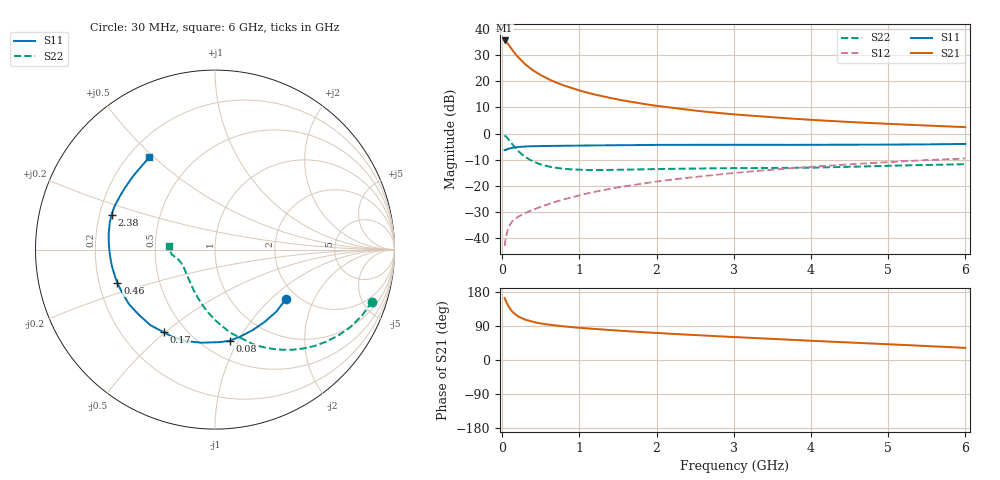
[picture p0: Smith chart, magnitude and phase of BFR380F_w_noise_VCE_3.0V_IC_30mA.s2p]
! Infineon Technologies  Discrete & RF Semiconductors
! BFR380F
! VCE =  3.0 V,  IC =  30 mA
! Common Emitter S-Parameters:  Nov 2015
# GHz  S  MA  R  50
!  f  S11  S21  S12  S22
! GHz  MAG  ANG  MAG  ANG  MAG  ANG  MAG  ANG
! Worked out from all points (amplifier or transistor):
!   206 points, 30 MHz to 6 GHz, reference 50 ohm
!   highest |S21| = 35.6 dB at 30 MHz (marker M1)
!   |S21| within 3 dB of that: start of sweep to 114.1 MHz
!   unconditionally stable (mu >= 1): 1.114 GHz to 4.992 GHz
!   at 200 MHz: K = 0.49, MSG = 30.6 dB, |S12| = -31.9 dB
!   at 1.56 GHz: K = 1.03, MAG = 15.5 dB, |S12| = -20.3 dB
!   at 6 GHz: K = 0.99, MSG = 6.0 dB, |S12| = -9.5 dB
!   lowest NFmin = 1.22 dB at 900 MHz
!   S11 on the Smith chart (normalised r, x): 30 MHz: 1.75, -1.25; 80 MHz: 0.67, -0.92; 170 MHz: 0.38, -0.49; 460 MHz: 0.28, -0.15; 2.38 GHz: 0.25, +0.15; 6 GHz: 0.28, +0.48
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0.03  0.4817 -34.7  60.26 163.7  0.007 78.7  0.9222 -18.3
0.05  0.4888 -55.9  56.92 153.6  0.0108 71.3  0.8698 -29.7
0.07  0.5044 -73.6  52.37 145.3  0.0143 66.0  0.804 -39.7
0.08  0.5147 -80.9  50.15 141.9  0.0157 63.9  0.7709 -44.2
0.1  0.5184 -93.4  45.58 135.4  0.0181 59.9  0.7051 -52.3
0.12  0.5285 -103.7  41.48 130.0  0.02 57.3  0.6453 -59.2
0.15  0.5411 -115.9  36.22 123.5  0.0223 54.8  0.5685 -68.0
0.17  0.542 -121.8  33.39 120.7  0.0235 54.0  0.5271 -72.1
0.2  0.5541 -130.5  29.34 115.6  0.0253 52.9  0.4712 -79.5
0.24  0.557 -138.2  25.47 111.5  0.0273 52.8  0.4158 -86.5
0.3  0.5671 -147.3  20.92 106.2  0.0302 53.7  0.3541 -96.0
0.36  0.5694 -153.6  17.78 102.6  0.033 55.1  0.313 -103.4
0.46  0.5744 -161.1  14.14 97.9  0.0378 57.5  0.2684 -113.9
0.7  0.5821 -171.6  9.424 90.9  0.0499 62.4  0.2202 -131.7
1.04  0.5889 179.7  6.406 84.3  0.068 66.1  0.2019 -146.7
1.4  0.5963 173.4  4.778 78.9  0.0876 67.8  0.2013 -155.8
2.02  0.6058 165.4  3.356 71.2  0.1217 68.1  0.2088 -162.8
2.38  0.6081 161.4  2.871 67.0  0.1412 67.5  0.2127 -165.4
3.1  0.6085 154.6  2.265 59.7  0.181 65.7  0.2178 -167.7
4.1  0.6085 144.6  1.79 49.8  0.2361 61.7  0.2236 -169.0
5.1  0.6148 135.3  1.508 40.6  0.289 57.1  0.2432 -174.5
6  0.6318 125.5  1.323 32.0  0.3335 51.9  0.2591 175.1
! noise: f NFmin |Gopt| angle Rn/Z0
0.45  1.25  0.3  -178  0.08
0.9  1.22  0.33  -179  0.07
1.8  1.42  0.4  -168  0.08
1.9  1.5  0.41  -169  0.08
2.4  1.57  0.43  -159  0.1
3.5  2.16  0.5  -149  0.15
